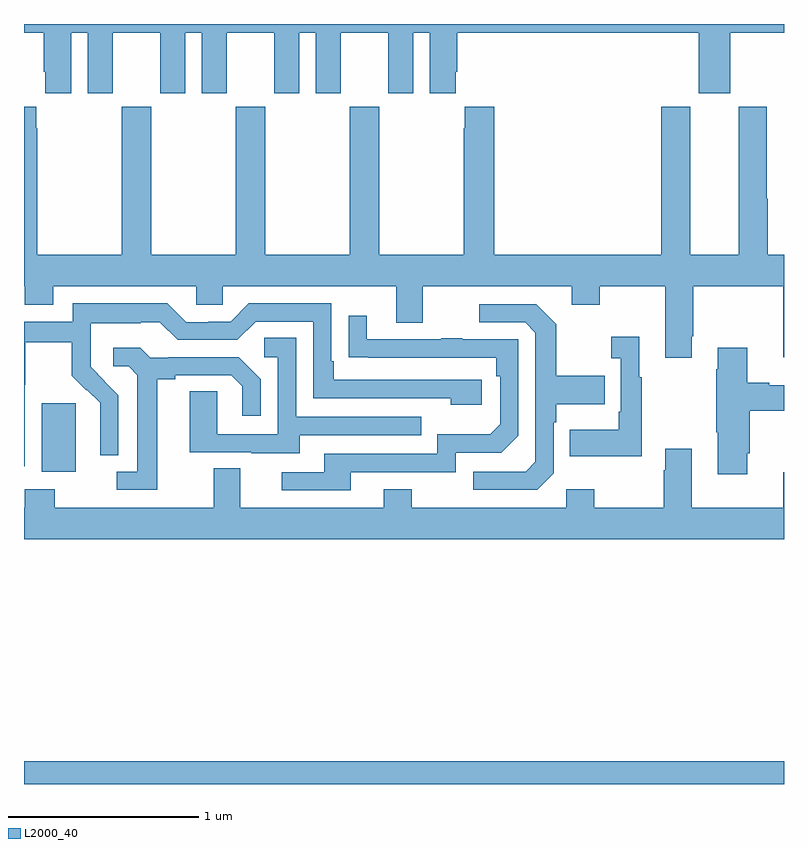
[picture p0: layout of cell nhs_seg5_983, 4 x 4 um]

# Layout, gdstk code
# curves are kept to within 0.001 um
import gdstk
lib = gdstk.Library(unit=1e-6, precision=1e-09)
def R(c, l, rs):  # rectangles x0, y0, x1, y1
    for r in rs: c.add(gdstk.rectangle(r[:2], r[2:], *l))
def P(c, l, *ps):  # polygons
    for p in ps: c.add(gdstk.Polygon(p, *l))
L2000_40 = (2000, 40)

nhs_seg5_983 = lib.new_cell('nhs_seg5_983')
R(nhs_seg5_983, L2000_40, [(173,860.799,177,860.92), (173.093,862.442,173.272,862.803)])
P(nhs_seg5_983, L2000_40, [(173,864.752),(173.105,864.752),(173.105,864.547),(173.111,864.547),(173.111,864.435),(173.248,864.435),(173.248,864.752),(173.336,864.752),(173.336,864.435),(173.467,864.435),(173.467,864.752),(173.717,864.752),(173.717,864.435),(173.848,864.435),(173.848,864.752),(173.936,864.752),(173.936,864.435),(174.067,864.435),(174.067,864.752),(174.317,864.752),(174.317,864.435),(174.448,864.435),(174.448,864.752),(174.536,864.752),(174.536,864.435),(174.667,864.435),(174.667,864.752),(174.917,864.752),(174.917,864.435),(175.048,864.435),(175.048,864.752),(175.136,864.752),(175.136,864.435),(175.273,864.435),(175.273,864.547),(175.28,864.547),(175.28,864.752),(176.552,864.752),(176.552,864.435),(176.716,864.435),(176.716,864.752),(177,864.752),(177,864.799),(173,864.799)],
  [(176.515,863.155),(176.523,863.155),(176.523,863.42),(176.996,863.42),(176.996,863.046),(177,863.046),(177,863.584),(176.915,863.584),(176.915,863.88),(176.91,863.88),(176.91,864.363),(176.762,864.363),(176.762,863.584),(176.506,863.584),(176.506,864.363),(176.354,864.363),(176.354,863.584),(175.475,863.584),(175.475,864.364),(175.319,864.364),(175.319,864.251),(175.315,864.251),(175.315,863.584),(174.87,863.584),(174.87,864.364),(174.715,864.364),(174.715,863.584),(174.27,863.584),(174.27,864.364),(174.115,864.364),(174.115,863.584),(173.67,863.584),(173.67,864.364),(173.515,864.364),(173.515,863.584),(173.07,863.584),(173.07,864.251),(173.065,864.251),(173.065,864.364),(173,864.364),(173,863.42),(173.003,863.42),(173.003,863.321),(173.155,863.321),(173.155,863.42),(173.907,863.42),(173.907,863.322),(174.045,863.322),(174.045,863.42),(174.959,863.42),(174.959,863.226),(175.099,863.226),(175.099,863.42),(175.883,863.42),(175.883,863.321),(176.031,863.321),(176.031,863.42),(176.375,863.42),(176.375,863.043),(176.515,863.043)],
  [(173.004,862.9),(173.007,862.9),(173.007,863.124),(173.251,863.124),(173.251,862.949),(173.328,862.872),(173.331,862.875),(173.402,862.805),(173.402,862.682),(173.4,862.682),(173.4,862.528),(173.496,862.528),(173.496,862.846),(173.35,862.994),(173.35,863.091),(173.352,863.091),(173.352,863.225),(173.615,863.225),(173.615,863.229),(173.715,863.229),(173.808,863.136),(174.123,863.136),(174.219,863.232),(174.522,863.232),(174.522,862.83),(175.247,862.83),(175.247,862.796),(175.408,862.796),(175.408,862.926),(174.631,862.926),(174.631,863.023),(174.618,863.023),(174.618,863.328),(174.183,863.328),(174.087,863.232),(173.969,863.232),(173.969,863.229),(173.853,863.229),(173.753,863.329),(173.256,863.329),(173.256,863.232),(173,863.232),(173,862.471),(173.004,862.471)],
  [(175.788,862.434),(175.788,862.703),(175.801,862.703),(175.801,862.799),(176.057,862.799),(176.057,862.947),(175.801,862.947),(175.801,863.219),(175.695,863.325),(175.395,863.325),(175.395,863.229),(175.638,863.229),(175.692,863.175),(175.692,862.494),(175.641,862.443),(175.365,862.443),(175.365,862.347),(175.701,862.347)],
  [(174.721,862.44),(175.272,862.44),(175.272,862.542),(175.512,862.542),(175.602,862.632),(175.602,863.139),(175.307,863.139),(175.307,863.144),(175.195,863.144),(175.195,863.139),(174.805,863.139),(174.805,863.263),(174.709,863.263),(174.709,863.044),(175.486,863.043),(175.486,862.946),(175.506,862.946),(175.506,862.692),(175.453,862.639),(175.176,862.639),(175.176,862.536),(174.581,862.536),(174.581,862.44),(174.357,862.44),(174.357,862.344),(174.721,862.344)],
  [(176.251,862.939),(176.239,862.939),(176.239,863.152),(176.091,863.152),(176.091,863.039),(176.142,863.039),(176.142,862.759),(176.13,862.759),(176.13,862.663),(175.873,862.663),(175.873,862.523),(176.251,862.523)],
  [(174.451,862.635),(175.091,862.635),(175.091,862.731),(174.432,862.731),(174.432,863.147),(174.264,863.147),(174.264,863.046),(174.336,863.046),(174.336,862.641),(174.018,862.641),(174.018,862.865),(173.873,862.865),(173.873,862.545),(174.197,862.545),(174.197,862.541),(174.451,862.541)],
  [(176.806,862.54),(176.819,862.54),(176.819,862.763),(177,862.763),(177,862.897),(176.922,862.897),(176.922,862.91),(176.806,862.91),(176.806,863.095),(176.651,863.095),(176.651,862.982),(176.644,862.982),(176.644,862.651),(176.651,862.651),(176.651,862.428),(176.806,862.428)],
  [(173.701,862.928),(173.797,862.928),(173.797,862.95),(174.092,862.95),(174.149,862.893),(174.149,862.737),(174.246,862.737),(174.246,862.93),(174.13,863.046),(173.758,863.046),(173.758,863.043),(173.664,863.043),(173.612,863.095),(173.469,863.095),(173.469,862.998),(173.55,862.998),(173.597,862.951),(173.597,862.443),(173.487,862.443),(173.487,862.347),(173.701,862.347)],
  [(177,862.441),(176.996,862.441),(176.996,862.252),(176.515,862.252),(176.515,862.564),(176.375,862.564),(176.375,862.451),(176.368,862.451),(176.368,862.252),(176.001,862.252),(176.001,862.351),(175.854,862.351),(175.854,862.252),(175.041,862.252),(175.041,862.351),(174.893,862.351),(174.893,862.252),(174.139,862.252),(174.139,862.46),(173.999,862.46),(173.999,862.252),(173.163,862.252),(173.163,862.351),(173.003,862.351),(173.003,862.252),(173,862.252),(173,862.088),(177,862.088)])

lib.write_gds('nhs_seg5_983.gds')
